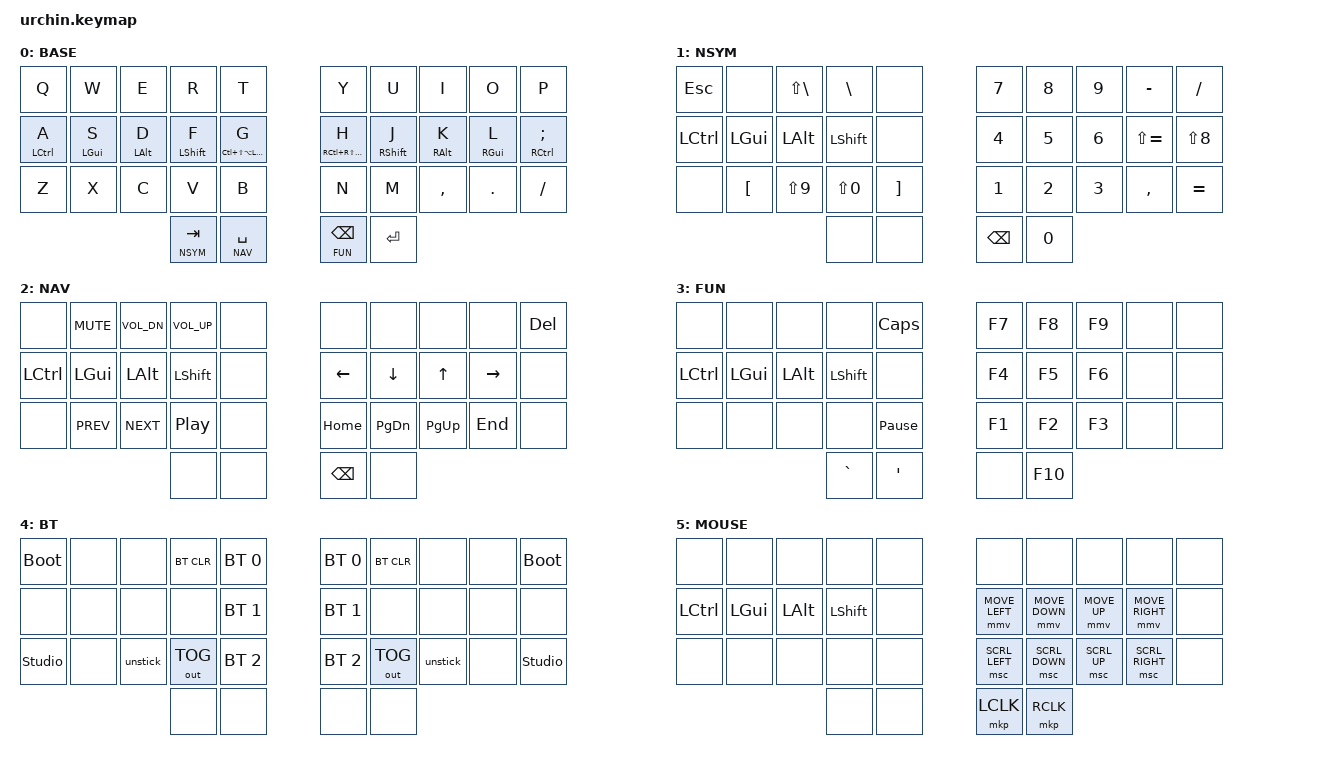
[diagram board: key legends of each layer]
/*
 * Copyright (c) 2020 duckyb
 *
 * SPDX-License-Identifier: MIT
 */

#include <behaviors.dtsi>
#include <dt-bindings/zmk/keys.h>
#include <dt-bindings/zmk/bt.h>
#include <dt-bindings/zmk/outputs.h>
#include <dt-bindings/zmk/pointing.h>

// Layer definitions
#define BASE 0
#define NSYM 1
#define NAV  2
#define FUN  3
#define BLUE 4
#define MOU  5
// -----------------

/ {
	behaviors {
        lt: layer_tap {
			tapping-term-ms = <200>;
			quick-tap-ms = <200>;
        };

		// Enables holding the first mod-tap key
		// by performing a tap-release-hold sequence.
		// To use it: "&qt KEYCODE1 KEYCODE2"
		qt: quick_tap {
			compatible = "zmk,behavior-hold-tap";
			label = "QUICK_TAP";
			#binding-cells = <2>;
			flavor = "balanced";
			tapping-term-ms = <200>;
			quick-tap-ms = <200>;
			require-prior-idle-ms = <150>;
			bindings = <&kp>, <&kp>;
		};
	};

	macros {
		// sometimes my device thinks a modifier is being held down
		// pressing all modifiers fixes it.
		unstick: unstick {
			label = "ZM_unstick";
			compatible = "zmk,behavior-macro";
			#binding-cells = <0>;
			bindings = <&kp LSHIFT &kp RSHIFT &kp LCTRL &kp RCTRL &kp LALT &kp RALT &kp LGUI &kp RGUI>;
		};
	};

	combos {
		compatible = "zmk,combos";
		combo_capsword {
			timeout-ms = <50>;
			key-positions = <13 16>;
			bindings = <&caps_word>;
		};
		combo_bluetooth {
			timeout-ms = <50>;
			key-positions = <0 9>;  // Q + P
			bindings = <&mo BLUE>;
		};
		combo_mouse {
			timeout-ms = <50>;
			key-positions = <30 31>;  // i due pollici sinistri (TAB + SPACE) -> toggle MOUSE
			bindings = <&tog MOU>;
		};
	};

	keymap {
		compatible = "zmk,keymap";

		// Layer 0: BASE
		default_layer {
			label = "BASE";
			bindings = <
			&kp Q       &kp W       &kp E        &kp R         &kp T              &kp Y         &kp U          &kp I        &kp O        &kp P
			&qt LCTRL A  &qt LGUI S  &qt LALT D  &qt LSHIFT F  &qt LC(LS(LA(LGUI))) G              &qt RC(RS(RA(RGUI))) H         &qt RSHIFT J   &qt RALT K  &qt RGUI L   &qt RCTRL SEMI
			&kp Z       &kp X       &kp C        &kp V         &kp B              &kp N         &kp M          &kp COMMA    &kp DOT      &kp FSLH
			                                     &lt NSYM TAB  &lt NAV SPACE      &lt FUN BSPC  &kp RETURN
			>;
		};

		// Layer 1: NSYM - Numbers and symbols
		nsym_layer {
			label = "NSYM";
			bindings = <
			&kp ESC     &none       &kp LS(BSLH)  &kp BSLH      &none              &kp N7        &kp N8         &kp N9       &kp MINUS      &kp FSLH
			&kp LCTRL    &kp LGUI    &kp LALT     &kp LSHIFT    &none              &kp N4        &kp N5         &kp N6       &kp LS(EQUAL)  &kp LS(N8)
			&none       &kp LBKT    &kp LS(N9)    &kp LS(N0)    &kp RBKT           &kp N1        &kp N2         &kp N3       &kp COMMA      &kp EQUAL
			                                      &none         &none              &kp BSPC      &kp N0
			>;
		};

		// Layer 2: NAV - Navigation
		nav_layer {
			label = "NAV";
			bindings = <
			&none       &kp C_MUTE  &kp C_VOL_DN  &kp C_VOL_UP  &none              &none         &none          &none        &none         &kp DEL
			&kp LCTRL    &kp LGUI    &kp LALT     &kp LSHIFT    &none              &kp LEFT      &kp DOWN       &kp UP       &kp RIGHT     &none
			&none       &kp C_PREV  &kp C_NEXT    &kp C_PP      &none              &kp HOME      &kp PG_DN      &kp PG_UP    &kp END       &none
			                                      &none         &none              &kp BSPC      &none
			>;
		};

		// Layer 3: FUN - Function keys
		fun_layer {
			label = "FUN";
			bindings = <
			&none       &none       &none         &none         &kp CAPS           &kp F7        &kp F8         &kp F9       &none         &none
			&kp LCTRL    &kp LGUI    &kp LALT     &kp LSHIFT    &none              &kp F4        &kp F5         &kp F6       &none         &none
			&none       &none       &none         &none         &kp PAUSE_BREAK    &kp F1        &kp F2         &kp F3       &none         &none
			                                      &kp GRAVE     &kp SQT            &none         &kp F10
			>;
		};

		// Layer 4: BLUE - Bluetooth management (3 profiles)
		blue_layer {
			label = "BT";
			bindings = <
			&bootloader     &none       &none         &bt BT_CLR    &bt BT_SEL 0       &bt BT_SEL 0  &bt BT_CLR       &none        &none         &bootloader
			&none           &none       &none         &none         &bt BT_SEL 1       &bt BT_SEL 1  &none            &none        &none         &none
			&studio_unlock  &none       &unstick      &out OUT_TOG  &bt BT_SEL 2       &bt BT_SEL 2  &out OUT_TOG     &unstick     &none         &studio_unlock
			                                          &none         &none              &none         &none
			>;
		};

		// Layer 5: MOU - Mouse control
		mou_layer {
			label = "MOUSE";
			bindings = <
			&none       &none       &none         &none         &none              &none            &none            &none          &none             &none
			&kp LCTRL    &kp LGUI    &kp LALT     &kp LSHIFT    &none              &mmv MOVE_LEFT   &mmv MOVE_DOWN   &mmv MOVE_UP   &mmv MOVE_RIGHT   &none
			&none       &none       &none         &none         &none              &msc SCRL_LEFT   &msc SCRL_DOWN   &msc SCRL_UP   &msc SCRL_RIGHT   &none
			                                      &none         &none              &mkp LCLK        &mkp RCLK
			>;
		};
	};
};

&caps_word {
	continue-list = <POUND BKSP DEL MINUS UNDERSCORE>;
};
